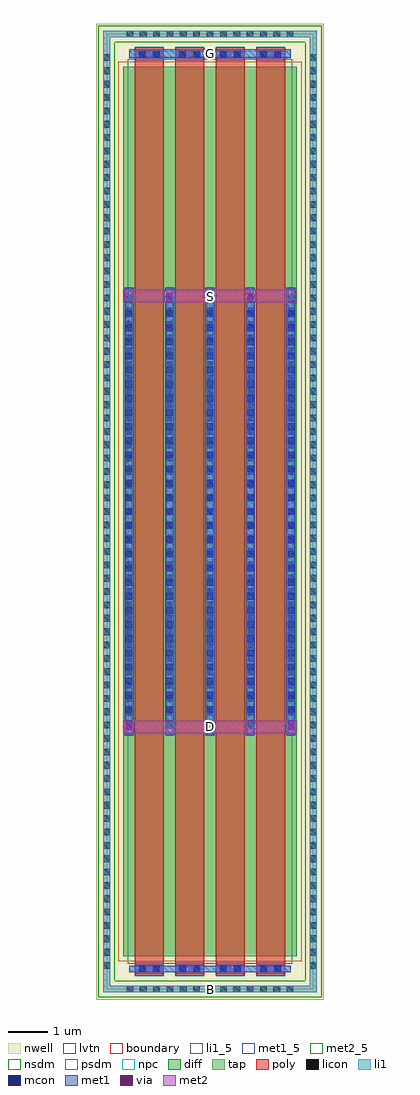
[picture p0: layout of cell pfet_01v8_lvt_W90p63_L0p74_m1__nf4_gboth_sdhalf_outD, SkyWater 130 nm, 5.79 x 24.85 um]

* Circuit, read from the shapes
.subckt pfet_01v8_lvt_W90p63_L0p74_m1__nf4_gboth_sdhalf_outD B D G S
XM1 S G D B sky130_fd_pr__pfet_01v8_lvt w=22.66 l=0.74 m=4
.ends

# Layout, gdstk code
import gdstk
lib = gdstk.Library(unit=1e-6, precision=1e-09)
def R(c, l, rs):  # rectangles x0, y0, x1, y1
    for r in rs: c.add(gdstk.rectangle(r[:2], r[2:], *l))
def A(c, l, x, y, w, h, nx, ny, dx, dy):  # array of equal rectangles
    R(c, l, [(x+i*dx, y+j*dy, x+i*dx+w, y+j*dy+h) for i in range(nx) for j in range(ny)])
nwell = (64, 20)
diff = (65, 20)
tap = (65, 44)
poly = (66, 20)
licon = (66, 44)
li1_5 = (67, 5)
li1 = (67, 20)
mcon = (67, 44)
met1_5 = (68, 5)
met1 = (68, 20)
via = (68, 44)
met2_5 = (69, 5)
met2 = (69, 20)
nsdm = (93, 44)
psdm = (94, 20)
npc = (95, 20)
lvtn = (125, 44)
boundary = (235, 4)

sky130_fd_pr__pfet_01v8_ = lib.new_cell('sky130_fd_pr__pfet_01v8_lvt_ZWJVHC')
R(sky130_fd_pr__pfet_01v8_, nwell, [(-2.895,-12.425,2.895,12.425)])
R(sky130_fd_pr__pfet_01v8_, diff, [(-2.205,-11.33,2.205,11.33)])
R(sky130_fd_pr__pfet_01v8_, tap, [(-2.715,-12.245,2.715,-12.075), (-2.715,-12.075,-2.545,12.075), (2.545,-12.075,2.715,12.075), (-2.715,12.075,2.715,12.245)])
A(sky130_fd_pr__pfet_01v8_, poly, -1.915, -11.815, 0.74, 23.63, 4, 1, 1.03, 0)
A(sky130_fd_pr__pfet_01v8_, licon, -2.125, -12.245, 0.17, 0.17, 13, 2, 0.34, 24.32)
A(sky130_fd_pr__pfet_01v8_, licon, -2.715, -11.645, 0.17, 0.17, 1, 69, 0, 0.34)
A(sky130_fd_pr__pfet_01v8_, licon, 2.545, -11.645, 0.17, 0.17, 1, 69, 0, 0.34)
A(sky130_fd_pr__pfet_01v8_, licon, -2.145, -5.525, 0.17, 0.17, 5, 33, 1.03, 0.34)
R(sky130_fd_pr__pfet_01v8_, licon, [(-1.8,-11.735,-1.63,-11.565), (-1.46,-11.735,-1.29,-11.565), (-0.77,-11.735,-0.6,-11.565), (-0.43,-11.735,-0.26,-11.565), (0.26,-11.735,0.43,-11.565), (0.6,-11.735,0.77,-11.565), (1.29,-11.735,1.46,-11.565), (1.63,-11.735,1.8,-11.565), (-1.8,11.565,-1.63,11.735), (-1.46,11.565,-1.29,11.735), (-0.77,11.565,-0.6,11.735), (-0.43,11.565,-0.26,11.735), (0.26,11.565,0.43,11.735), (0.6,11.565,0.77,11.735), (1.29,11.565,1.46,11.735), (1.63,11.565,1.8,11.735)])
A(sky130_fd_pr__pfet_01v8_, li1, -2.145, -5.715, 0.17, 11.43, 5, 1, 1.03, 0)
R(sky130_fd_pr__pfet_01v8_, li1, [(-2.715,-12.245,2.715,-12.075), (-2.715,-12.075,-2.545,12.075), (2.545,-12.075,2.715,12.075), (-2.06,-11.735,2.06,-11.565), (-2.06,11.565,2.06,11.735), (-2.715,12.075,2.715,12.245)])
A(sky130_fd_pr__pfet_01v8_, mcon, -2.145, -5.485, 0.17, 0.17, 5, 31, 1.03, 0.36)
R(sky130_fd_pr__pfet_01v8_, mcon, [(-1.81,-11.735,-1.64,-11.565), (-1.45,-11.735,-1.28,-11.565), (-0.78,-11.735,-0.61,-11.565), (-0.42,-11.735,-0.25,-11.565), (0.25,-11.735,0.42,-11.565), (0.61,-11.735,0.78,-11.565), (1.28,-11.735,1.45,-11.565), (1.64,-11.735,1.81,-11.565), (-1.81,11.565,-1.64,11.735), (-1.45,11.565,-1.28,11.735), (-0.78,11.565,-0.61,11.735), (-0.42,11.565,-0.25,11.735), (0.25,11.565,0.42,11.735), (0.61,11.565,0.78,11.735), (1.28,11.565,1.45,11.735), (1.64,11.565,1.81,11.735)])
A(sky130_fd_pr__pfet_01v8_, met1, -1.895, -11.765, 0.7, 0.03, 4, 2, 1.03, 0.2)
A(sky130_fd_pr__pfet_01v8_, met1, -2.175, -5.695, 0.23, 11.39, 5, 1, 1.03, 0)
A(sky130_fd_pr__pfet_01v8_, met1, -1.895, 11.535, 0.7, 0.03, 4, 2, 1.03, 0.2)
R(sky130_fd_pr__pfet_01v8_, met1, [(-2.06,-11.735,2.06,-11.565), (-2.06,11.565,2.06,11.735)])
R(sky130_fd_pr__pfet_01v8_, nsdm, [(-2.84,-12.37,2.84,-11.95), (-2.84,-11.95,-2.42,11.95), (2.42,-11.95,2.84,11.95), (-2.84,11.95,2.84,12.37)])
R(sky130_fd_pr__pfet_01v8_, psdm, [(-2.33,-11.455,2.33,11.455)])
A(sky130_fd_pr__pfet_01v8_, npc, -1.9, -11.835, 0.71, 0.37, 4, 2, 1.03, 23.3)
R(sky130_fd_pr__pfet_01v8_, lvtn, [(-2.095,-11.51,2.095,11.51)])
R(sky130_fd_pr__pfet_01v8_, boundary, [(-2.63,-12.16,2.63,12.16)])
sky130_fd_pr__pfet_01v8_.add(gdstk.Label('B', (0,-12.16), layer=67, texttype=5))
sky130_fd_pr__pfet_01v8_.add(gdstk.Label('D0', (-2.06,0), layer=67, texttype=5))
sky130_fd_pr__pfet_01v8_.add(gdstk.Label('G', (1.545,11.65), layer=67, texttype=5))
sky130_fd_pr__pfet_01v8_.add(gdstk.Label('G', (0.515,11.65), layer=67, texttype=5))
sky130_fd_pr__pfet_01v8_.add(gdstk.Label('G', (-0.515,11.65), layer=67, texttype=5))
sky130_fd_pr__pfet_01v8_.add(gdstk.Label('G', (-1.545,11.65), layer=67, texttype=5))
sky130_fd_pr__pfet_01v8_.add(gdstk.Label('S1', (-1.03,0), layer=67, texttype=5))
sky130_fd_pr__pfet_01v8_.add(gdstk.Label('D2', (0,0), layer=67, texttype=5))
sky130_fd_pr__pfet_01v8_.add(gdstk.Label('S3', (1.03,0), layer=67, texttype=5))

pfet_01v8_lvt_w90p63_l0p = lib.new_cell('pfet_01v8_lvt_W90p63_L0p74_m1__nf4_gboth_sdhalf_outD')
R(pfet_01v8_lvt_w90p63_l0p, li1_5, [(2.545,-0.085,2.715,0.085)])
R(pfet_01v8_lvt_w90p63_l0p, li1, [(2.545,-0.085,2.715,0.085)])
R(pfet_01v8_lvt_w90p63_l0p, met1_5, [(0.57,23.695,4.69,23.925)])
A(pfet_01v8_lvt_w90p63_l0p, met1, 0.44, 6.515, 0.26, 0.32, 3, 1, 2.06, 0)
R(pfet_01v8_lvt_w90p63_l0p, met1, [(1.47,17.485,1.73,17.805), (3.53,17.485,3.79,17.805), (0.57,23.695,4.69,23.925)])
A(pfet_01v8_lvt_w90p63_l0p, via, 0.495, 6.6, 0.15, 0.15, 3, 1, 2.06, 0)
R(pfet_01v8_lvt_w90p63_l0p, via, [(1.525,17.57,1.675,17.72), (3.585,17.57,3.735,17.72)])
R(pfet_01v8_lvt_w90p63_l0p, met2_5, [(0.435,6.515,4.825,6.835), (0.435,17.485,4.825,17.805)])
R(pfet_01v8_lvt_w90p63_l0p, met2, [(0.435,6.515,4.825,6.835), (0.435,17.485,4.825,17.805)])
pfet_01v8_lvt_w90p63_l0p.add(gdstk.Reference(sky130_fd_pr__pfet_01v8_, (2.63,12.16)))
pfet_01v8_lvt_w90p63_l0p.add(gdstk.Label('S', (2.63,17.645), layer=69, texttype=5))
pfet_01v8_lvt_w90p63_l0p.add(gdstk.Label('D', (2.63,6.675), layer=69, texttype=5))
pfet_01v8_lvt_w90p63_l0p.add(gdstk.Label('G', (2.63,23.81), layer=68, texttype=5))
pfet_01v8_lvt_w90p63_l0p.add(gdstk.Label('B', (2.63,0), layer=67, texttype=5))

lib.write_gds('pfet_01v8_lvt_W90p63_L0p74_m1__nf4_gboth_sdhalf_outD.gds')
